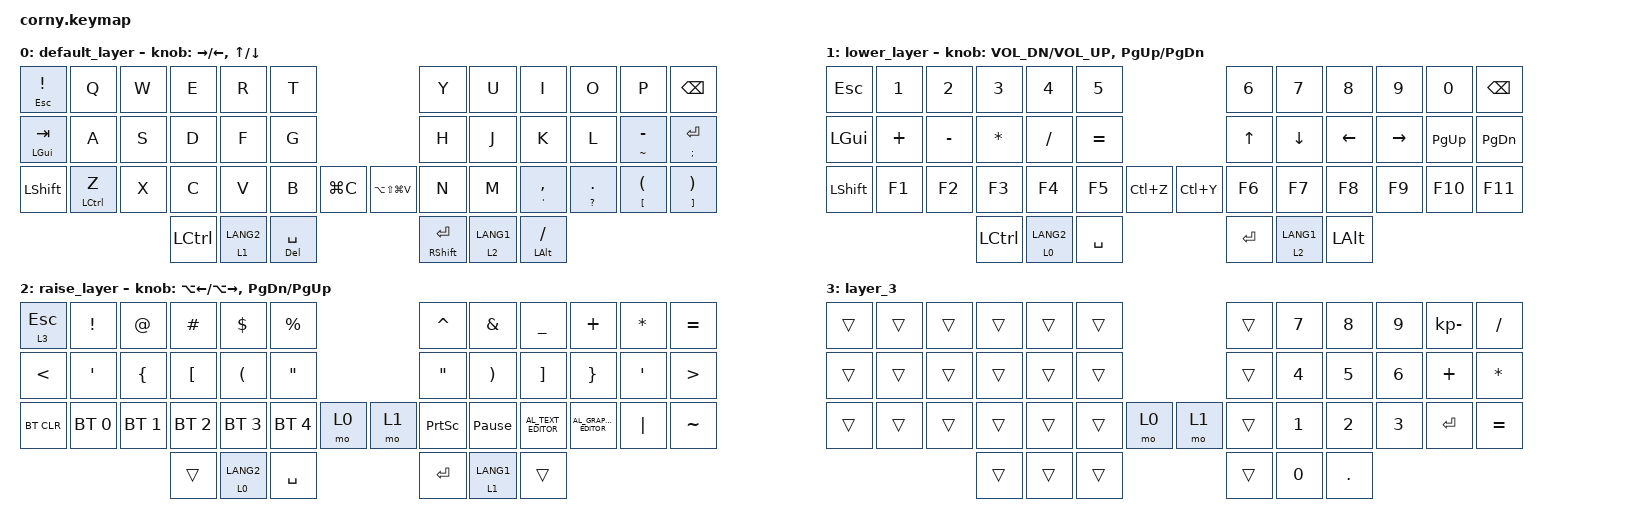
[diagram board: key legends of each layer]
#include <behaviors.dtsi>
#include <dt-bindings/zmk/bt.h>
#include <dt-bindings/zmk/keys.h>

&mt { flavor = "tap-preferred"; };

/ {
    combos {
        compatible = "zmk,combos";

        eisuu {
            bindings = <&kp LANGUAGE_2>;
            key-positions = <15 16>;
        };

        pa {
            bindings = <&pa>;
            key-positions = <36 37>;
        };

        login {
            bindings = <&login>;
            key-positions = <22 23>;
        };

        kana {
            bindings = <&kp LANGUAGE_1>;
            key-positions = <20 19>;
        };

        mail {
            bindings = <&mail>;
            key-positions = <10 11>;
        };

        to-tenkey {
            bindings = <&tog 3>;
            key-positions = <38 39 40>;
        };
    };

    macros {
        pa: pa {
            compatible = "zmk,behavior-macro";
            #binding-cells = <0>;
            bindings = <&kp P &kp A &kp S &kp W &kp A &kp R &kp D>;
            label = "PA";
        };

        login: login {
            compatible = "zmk,behavior-macro";
            #binding-cells = <0>;
            bindings = <&kp L &kp O &kp G &kp I &kp N &kp I &kp D>;
            label = "LOGIN";
        };

        mail: mail {
            compatible = "zmk,behavior-macro";
            #binding-cells = <0>;
            bindings = <&kp M &kp A &kp I &kp L &kp AT &kp M &kp A &kp I &kp L &kp DOT &kp J &kp P>;
            label = "MAIL";
        };
    };

    keymap {
        compatible = "zmk,keymap";

        default_layer {
            // -------------------------------------------------------------------------------------------------
            // |  TAB |  Q  |  W  |  E  |  R  |  T  |                    |  Y  |  U   |  I  |  O  |  P  | BKSP |
            // | CTRL |  A  |  S  |  D  |  F  |  G  |                    |  H  |  J   |  K  |  L  |  ;  |  '   |
            // | SHFT |  Z  |  X  |  C  |  V  |  B  |  MUTE  |  |        |  N  |  M   |  ,  |  .  |  /  | ESC  |
            //                    | GUI | LWR | SPC |                    | ENT | RSE  | ALT |

            bindings = <
&mt ESC EXCLAMATION  &kp Q               &kp W  &kp E             &kp R        &kp T                                           &kp Y                  &kp U        &kp I                 &kp O             &kp P                              &kp BACKSPACE
&mt LEFT_GUI TAB     &kp A               &kp S  &kp D             &kp F        &kp G                                           &kp H                  &kp J        &kp K                 &kp L             &mt TILDE MINUS                    &mt SEMI ENTER
&kp LSHIFT           &mt LEFT_CONTROL Z  &kp X  &kp C             &kp V        &kp B             &kp LG(C)  &kp LA(LS(LG(V)))  &kp N                  &kp M        &mt APOSTROPHE COMMA  &mt QUESTION DOT  &mt LEFT_BRACKET LEFT_PARENTHESIS  &mt RIGHT_BRACKET RIGHT_PARENTHESIS
                                                &kp LEFT_CONTROL  &lt 1 LANG2  &mt DELETE SPACE                                &mt RIGHT_SHIFT ENTER  &lt 2 LANG1  &mt LEFT_ALT SLASH
            >;

            sensor-bindings =
                <&inc_dec_kp RIGHT LEFT_ARROW>,
                <&inc_dec_kp UP DOWN>;
        };

        lower_layer {
            // ------------------------------------------------------------------------------------------------
            // |  TAB |  1  |  2  |  3  |  4  |  5  |                    |  6  |  7  |  8  |  9  |  0  | BKSP |
            // | BTCLR| BT1 | BT2 | BT3 | BT4 | BT5 |                    | LFT | DWN |  UP | RGT |     |  F12 |
            // | SHFT | F1  | F2  | F3  | F4  | F5  |  boot  |  |        |  F6 | F7  | F8  | F9  | F10 |  F11 |
            //                    | GUI |     | SPC |                    | ENT |     | ALT |

            bindings = <
&kp ESCAPE      &kp N1    &kp N2     &kp N3            &kp N4       &kp N5                           &kp N6     &kp N7       &kp N8        &kp N9     &kp N0       &kp BACKSPACE
&kp LEFT_GUI    &kp PLUS  &kp MINUS  &kp ASTERISK      &kp SLASH    &kp EQUAL                        &kp UP     &kp DOWN     &kp LEFT      &kp RIGHT  &kp PAGE_UP  &kp PAGE_DOWN
&kp LEFT_SHIFT  &kp F1    &kp F2     &kp F3            &kp F4       &kp F5     &kp LC(Z)  &kp LC(Y)  &kp F6     &kp F7       &kp F8        &kp F9     &kp F10      &kp F11
                                     &kp LEFT_CONTROL  &lt 0 LANG2  &kp SPACE                        &kp ENTER  &lt 2 LANG1  &kp LEFT_ALT
            >;

            sensor-bindings =
                <&inc_dec_kp C_VOL_DN C_VOL_UP>,
                <&inc_dec_kp PAGE_UP PAGE_DOWN>;
        };

        raise_layer {
            // ------------------------------------------------------------------------------------------------
            // |  TAB |  !  |  @  |  #  |  $  |  %  |                    |  ^  |  &  |  *  |  (  |  )  | BKSP |
            // | CTRL |     |     |     |     |     |                    |  -  |  =  |  [  |  ]  |  \  |  `   |
            // | SHFT |     |     |     |     |     |        |  |  boot  |  _  |  +  |  {  |  }  | "|" |  ~   |
            //                    | GUI |     | SPC |                    | ENT |     | ALT |

            bindings = <
&lt 3 ESCAPE   &kp EXCL          &kp AT          &kp HASH          &kp DLLR              &kp PRCNT                        &kp CARET          &kp AMPS               &kp UNDER             &kp PLUS                  &kp ASTERISK      &kp EQUAL
&kp LESS_THAN  &kp SINGLE_QUOTE  &kp LEFT_BRACE  &kp LEFT_BRACKET  &kp LEFT_PARENTHESIS  &kp DOUBLE_QUOTES                &kp DOUBLE_QUOTES  &kp RIGHT_PARENTHESIS  &kp RIGHT_BRACKET     &kp RIGHT_BRACE           &kp SINGLE_QUOTE  &kp GREATER_THAN
&bt BT_CLR     &bt BT_SEL 0      &bt BT_SEL 1    &bt BT_SEL 2      &bt BT_SEL 3          &bt BT_SEL 4       &mo 0  &mo 1  &kp PRINTSCREEN    &kp PAUSE_BREAK        &kp C_AL_TEXT_EDITOR  &kp C_AL_GRAPHICS_EDITOR  &kp PIPE          &kp TILDE
                                                 &trans            &lt 0 LANG2           &kp SPACE                        &kp ENTER          &lt 1 LANG1            &trans
            >;

            sensor-bindings =
                <&inc_dec_kp LA(LEFT_ARROW) LA(RIGHT_ARROW)>,
                <&inc_dec_kp PAGE_DOWN PAGE_UP>;
        };

        layer_3 {
            bindings = <
&trans  &trans  &trans  &trans  &trans  &trans                &trans  &kp N7  &kp N8   &kp N9  &kp KP_MINUS  &kp SLASH
&trans  &trans  &trans  &trans  &trans  &trans                &trans  &kp N4  &kp N5   &kp N6  &kp PLUS      &kp ASTERISK
&trans  &trans  &trans  &trans  &trans  &trans  &mo 0  &mo 1  &trans  &kp N1  &kp N2   &kp N3  &kp ENTER     &kp EQUAL
                        &trans  &trans  &trans                &trans  &kp N0  &kp DOT
            >;
        };
    };
};
